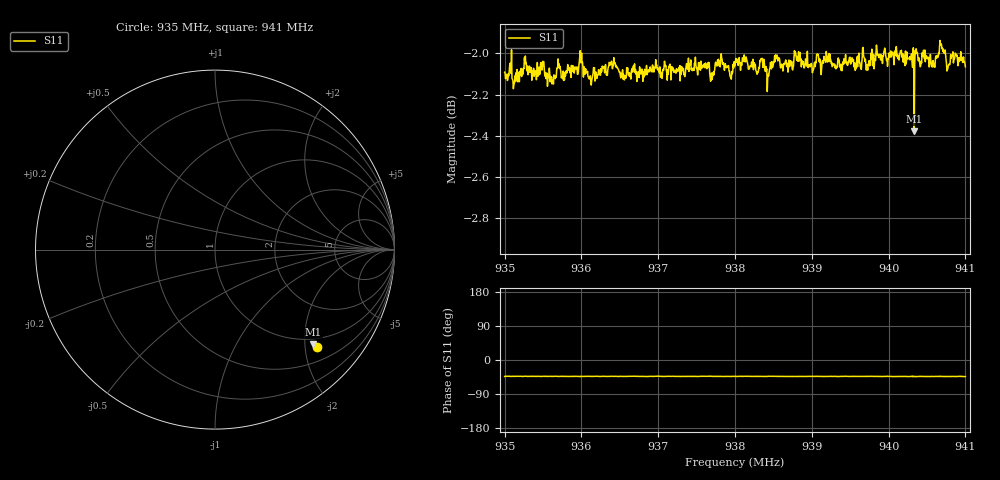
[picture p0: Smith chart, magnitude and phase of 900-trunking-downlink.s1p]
! Calibrated averaged scanner-service zoom
# Hz S RI R 50
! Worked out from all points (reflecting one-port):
!   1001 points, 935 MHz to 941 MHz, reference 50 ohm
!   lowest |S11| = -2.4 dB at 940.334 MHz (marker M1), VSWR 7.35, Z = 43.5 - j109 ohm
!   phase of S11 starts at -43 deg and turns -0 deg over the sweep
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9.35e8  0.5709 -0.5402
9.3575e8  0.573 -0.5349
9.3599e8  0.58 -0.5395
9.36098e8  0.5723 -0.5347
9.3641e8  0.5774 -0.5373
9.365e8  0.5746 -0.5365
9.3668e8  0.5784 -0.5363
9.36842e8  0.5682 -0.5421
9.36992e8  0.5784 -0.5339
9.37046e8  0.5702 -0.5374
9.3725e8  0.5726 -0.5392
9.37502e8  0.5731 -0.5408
9.37694e8  0.5734 -0.5371
9.37844e8  0.5727 -0.5443
9.38e8  0.5777 -0.5371
9.38372e8  0.577 -0.5422
9.3845e8  0.576 -0.5369
9.38534e8  0.5775 -0.542
9.3875e8  0.5722 -0.5403
9.395e8  0.5762 -0.5442
9.4025e8  0.5722 -0.5475
9.40334e8  0.5471 -0.5282
9.4043e8  0.5761 -0.5407
9.4058e8  0.5738 -0.5448
9.40688e8  0.5801 -0.5487
9.40772e8  0.5712 -0.5426
9.40922e8  0.5787 -0.539
9.41e8  0.5701 -0.5446
